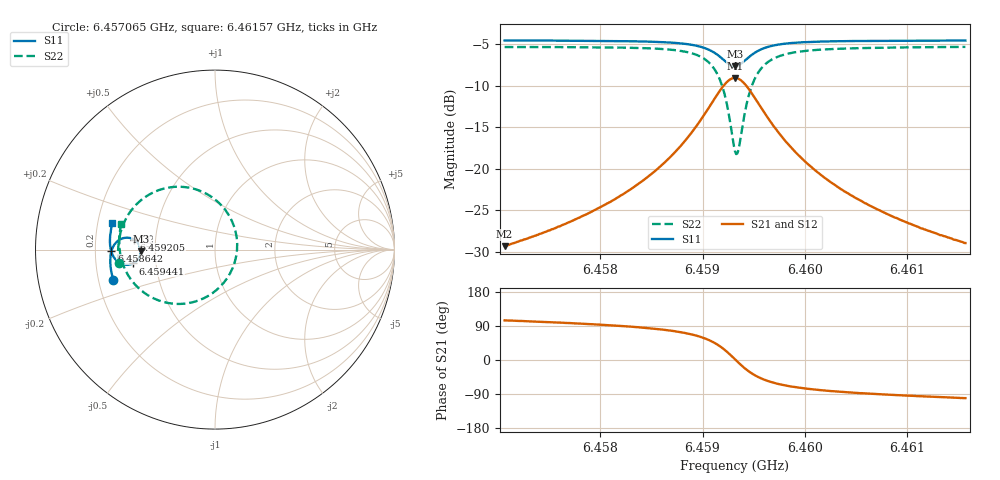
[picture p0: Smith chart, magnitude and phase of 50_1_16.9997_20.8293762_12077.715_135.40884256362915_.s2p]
#  HZ  S  RI  R  50.00
! Rohde & Schwarz Vector Network Analyzer
! Rohde-Schwarz,ZNB20-2Port,1311601062101988,3.16
! Created: UTC 3/20/2024, 10:54:15 PM
! freq[Hz]  re:S11  im:S11  re:S21  im:S21  re:S12  im:S12  re:S22  im:S22
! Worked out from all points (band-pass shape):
!   401 points, 6.457065 GHz to 6.46157 GHz, reference 50 ohm
!   highest |S21| = -9.06 dB at 6.459317 GHz (marker M1); lowest = -29.3 dB at 6.457065 GHz (marker M2)
!   |S21| within 3 dB of the highest: 6.459091 GHz to 6.459542 GHz (450.6 kHz wide, 0.00698 % of centre)
!   lowest |S11| = -7.7 dB at 6.459317 GHz (marker M3), VSWR 2.41, Z = 20.7 - j0.49 ohm
!   |S11| at or under -10 dB: nowhere
!   |S22| runs from -18.2 to -5.3 dB; largest |S21 - S12| = 0.014
!   S11 on the Smith chart (normalised r, x): 6.457065 GHz: 0.26, -0.13; 6.458642 GHz: 0.27, -0.01; 6.459205 GHz: 0.38, +0.05; 6.459441 GHz: 0.37, -0.07; 6.46157 GHz: 0.26, +0.12
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6.4570651e9  -0.5679 -0.1669  -0.00867 0.0332  -0.00689 0.0332  -0.5351 -0.0761
6.4578196e9  -0.5812 -0.1003  -0.00524 0.0516  -0.00261 0.0509  -0.539 0.0136
6.4582363e9  -0.5837 -0.0581  0.00108 0.0714  0.00426 0.0699  -0.5296 0.081
6.4585742e9  -0.5793 -0.0171  0.0153 0.1006  0.0193 0.0978  -0.5029 0.1588
6.4586417e9  -0.577 -0.00764  0.021 0.1091  0.0249 0.1059  -0.4924 0.179
6.4588332e9  -0.5639 0.0227  0.0482 0.1406  0.0522 0.1355  -0.4411 0.2486
6.4589796e9  -0.5406 0.0491  0.0947 0.1714  0.0979 0.1646  -0.3553 0.313
6.4591147e9  -0.4958 0.0663  0.1839 0.1876  0.1848 0.1801  -0.1923 0.3501
6.4592048e9  -0.4502 0.0553  0.2753 0.1546  0.2757 0.1489  -0.0229 0.2962
6.4592724e9  -0.4207 0.022  0.3363 0.0806  0.3386 0.0752  0.0928 0.1623
6.4593174e9  -0.414 -0.0098  0.3522 0.0112  0.3561 0.0041  0.1236 0.0321
6.4593512e9  -0.4183 -0.0341  0.3458 -0.0422  0.3497 -0.0515  0.1103 -0.0689
6.4593962e9  -0.4344 -0.0605  0.3161 -0.1028  0.3182 -0.115  0.0498 -0.1831
6.4594413e9  -0.4571 -0.0773  0.2727 -0.144  0.2718 -0.1575  -0.0379 -0.2581
6.4595314e9  -0.5011 -0.0841  0.1862 -0.1749  0.18 -0.1867  -0.2099 -0.3027
6.4595989e9  -0.5258 -0.0768  0.1371 -0.1725  0.1289 -0.1814  -0.3045 -0.2864
6.4596778e9  -0.5457 -0.0636  0.0971 -0.16  0.0884 -0.1663  -0.3795 -0.2507
6.4598354e9  -0.5677 -0.0358  0.0517 -0.1313  0.0439 -0.134  -0.4602 -0.177
6.4600719e9  -0.5806 -0.000455  0.0223 -0.099  0.0163 -0.0997  -0.5082 -0.0935
6.460421e9  -0.5853 0.0416  0.00592 -0.0711  0.00175 -0.0706  -0.5299 -0.0118
6.4608264e9  -0.5836 0.0826  -0.00164 -0.0528  -0.00437 -0.0519  -0.5336 0.0542
6.4615697e9  -0.5718 0.1488  -0.00659 -0.0352  -0.0083 -0.0343  -0.5222 0.1433
